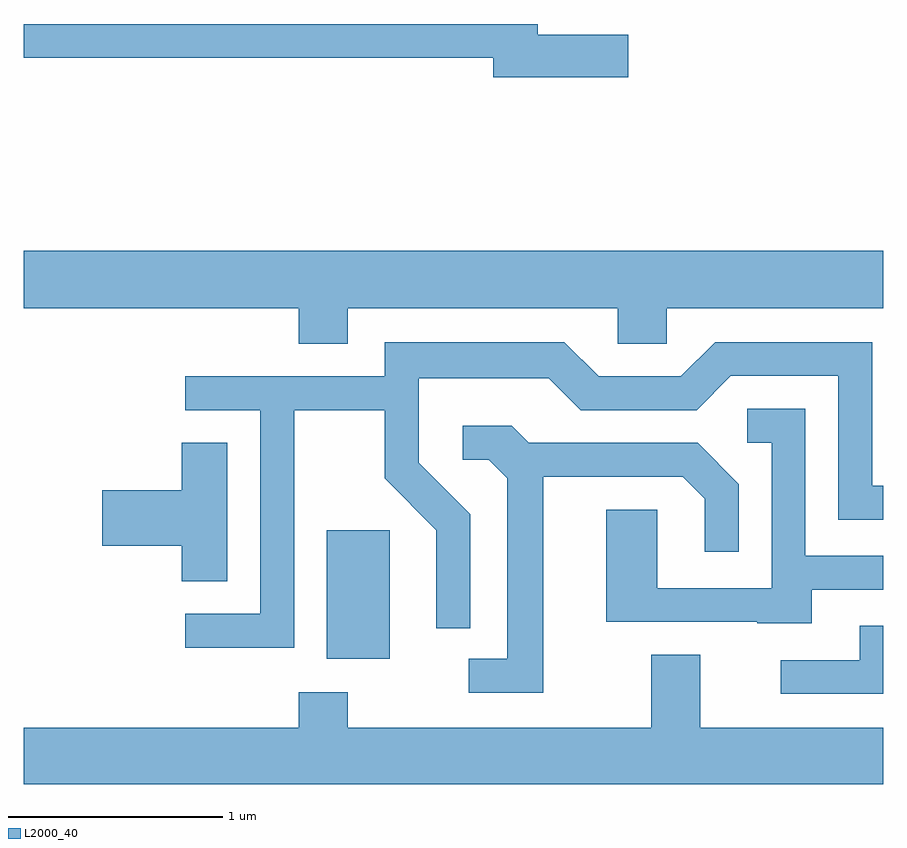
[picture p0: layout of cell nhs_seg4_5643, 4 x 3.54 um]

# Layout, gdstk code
import gdstk
lib = gdstk.Library(unit=1e-6, precision=1e-09)
def R(c, l, rs):  # rectangles x0, y0, x1, y1
    for r in rs: c.add(gdstk.rectangle(r[:2], r[2:], *l))
def P(c, l, *ps):  # polygons
    for p in ps: c.add(gdstk.Polygon(p, *l))
L2000_40 = (2000, 40)

nhs_seg4_5643 = lib.new_cell('nhs_seg4_5643')
R(nhs_seg4_5643, L2000_40, [(351.021,1388.566,351.314,1389.164)])
P(nhs_seg4_5643, L2000_40, [(352.424,1391.469),(352.004,1391.469),(352.004,1391.519),(349.611,1391.519),(349.611,1391.361),(351.796,1391.361),(351.796,1391.271),(352.424,1391.271)],
  [(351.119,1390.196),(352.376,1390.196),(352.376,1390.031),(352.604,1390.031),(352.604,1390.196),(353.611,1390.196),(353.611,1390.464),(349.611,1390.464),(349.611,1390.196),(350.891,1390.196),(350.891,1390.031),(351.119,1390.031)],
  [(350.869,1389.721),(351.291,1389.721),(351.291,1389.404),(351.531,1389.164),(351.531,1388.708),(351.689,1388.708),(351.689,1389.237),(351.449,1389.477),(351.449,1389.871),(352.054,1389.871),(352.204,1389.721),(352.742,1389.721),(352.902,1389.881),(353.401,1389.881),(353.401,1389.211),(353.611,1389.211),(353.611,1389.369),(353.559,1389.369),(353.559,1390.039),(352.829,1390.039),(352.669,1389.879),(352.287,1389.879),(352.127,1390.039),(351.291,1390.039),(351.291,1389.879),(350.363,1389.879),(350.363,1389.721),(350.711,1389.721),(350.711,1388.774),(350.363,1388.774),(350.363,1388.616),(350.869,1388.616)],
  [(353.279,1388.886),(353.611,1388.886),(353.611,1389.044),(353.249,1389.044),(353.249,1389.729),(352.978,1389.729),(352.978,1389.571),(353.091,1389.571),(353.091,1388.894),(352.559,1388.894),(352.559,1389.259),(352.321,1389.259),(352.321,1388.736),(353.025,1388.736),(353.025,1388.731),(353.279,1388.731)],
  [(352.029,1389.411),(352.679,1389.411),(352.781,1389.309),(352.781,1389.063),(352.939,1389.063),(352.939,1389.377),(352.747,1389.569),(351.962,1389.569),(351.882,1389.649),(351.653,1389.649),(351.653,1389.491),(351.774,1389.491),(351.861,1389.404),(351.861,1388.564),(351.683,1388.564),(351.683,1388.406),(352.029,1388.406)],
  [(350.559,1389.569),(350.346,1389.569),(350.346,1389.349),(349.976,1389.349),(349.976,1389.091),(350.346,1389.091),(350.346,1388.926),(350.559,1388.926)],
  [(353.611,1388.719),(353.501,1388.719),(353.501,1388.559),(353.133,1388.559),(353.133,1388.401),(353.611,1388.401)],
  [(353.611,1388.244),(352.759,1388.244),(352.759,1388.584),(352.531,1388.584),(352.531,1388.244),(351.119,1388.244),(351.119,1388.409),(350.891,1388.409),(350.891,1388.244),(349.611,1388.244),(349.611,1387.982),(353.611,1387.982)])

lib.write_gds('nhs_seg4_5643.gds')
